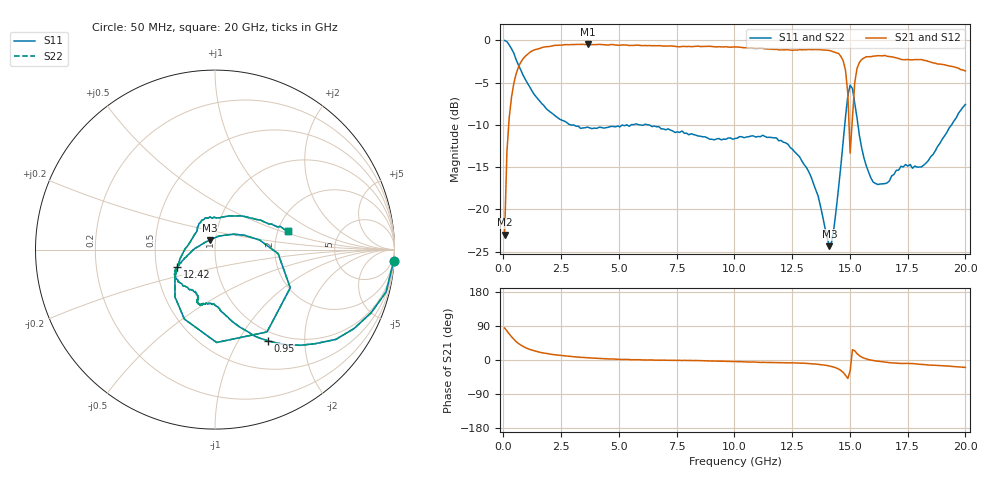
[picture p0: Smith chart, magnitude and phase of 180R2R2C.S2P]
!  American Technical Ceramics  Date:  3/13/98
!  One Norden Lane
!  Huntington Station,  NY.  11746-2102
!  Tel:  (516) 547-5700  Fax:  (516) 547-5748
!  Part Number  180r2r2c
!  Description: Porcelain, High Q, Low ESR
!  Application: Bypass, Coupling, Timing, Feedback
!  Tuning, Impedance Match, Blocking
# GHZ S DB R 50
! Freq  |S11|  S11 Ph  |S21|  S21 Ph  |S12|  S12 Ph  |S22|  S22 Ph
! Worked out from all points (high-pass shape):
!   201 points, 50 MHz to 20 GHz, reference 50 ohm
!   highest |S21| = -0.47 dB at 3.64 GHz (marker M1); lowest = -23.0 dB at 50 MHz (marker M2)
!   |S21| within 3 dB of the highest: 611.2 MHz to 14.8 GHz (14.19 GHz wide, 184 % of centre); 15.3 GHz to 19.8 GHz (4.499 GHz wide, 25.6 % of centre)
!   lowest |S11| = -24.4 dB at 14.11 GHz (marker M3), VSWR 1.13, Z = 47 + j5.04 ohm
!   |S11| at or under -10 dB: 2.903 GHz to 5.529 GHz (2.627 GHz wide, 62.3 % of centre); 6.255 GHz to 14.78 GHz (8.522 GHz wide, 81 % of centre); 15.35 GHz to 19.4 GHz (4.056 GHz wide, 23.3 % of centre)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
!   |S22| runs from -24.4 to 0.0 dB; largest |S21 - S12| = 0
!   S11 on the Smith chart (normalised r, x): 50 MHz: 1, -31; 950 MHz: 0.87, -1.34; 12.42 GHz: 0.64, -0.13; 20 GHz: 2.26, +0.57
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0.05  -0.02 -3.7  -23.00 84.5  -23.00 84.5  -0.02 -3.7
0.15  -0.16 -13.9  -13.20 76.7  -13.20 76.7  -0.16 -13.9
0.35  -1.01 -29.7  -6.70 61.3  -6.70 61.3  -1.01 -29.7
0.95  -4.64 -60.0  -1.88 32.8  -1.88 32.8  -4.64 -60.0
1.75  -7.72 -76.6  -0.80 18.6  -0.80 18.6  -7.72 -76.6
3.44  -10.37 -92.6  -0.48 6.8  -0.48 6.8  -10.37 -92.6
3.64  -10.27 -93.2  -0.47 5.9  -0.47 5.9  -10.27 -93.2
6.73  -10.22 -108.8  -0.63 -0.6  -0.63 -0.6  -10.22 -108.8
10.03  -11.61 -128.2  -0.78 -4.2  -0.78 -4.2  -11.61 -128.2
12.42  -12.70 -154.8  -1.16 -7.4  -1.16 -7.4  -12.70 -154.8
13.42  -16.95 -171.6  -1.10 -10.1  -1.10 -10.1  -16.95 -171.6
14.11  -24.36 118.1  -1.21 -15.8  -1.21 -15.8  -24.36 118.1
14.51  -17.43 39.7  -1.56 -23.8  -1.56 -23.8  -17.43 39.7
14.81  -9.06 -3.6  -3.56 -40.3  -3.56 -40.3  -9.06 -3.6
14.91  -6.55 -26.9  -6.33 -48.6  -6.33 -48.6  -6.55 -26.9
15.01  -5.31 -57.7  -13.36 -29.0  -13.36 -29.0  -5.31 -57.7
15.11  -5.72 -89.0  -9.18 27.3  -9.18 27.3  -5.72 -89.0
15.31  -9.22 -130.1  -3.32 16.8  -3.32 16.8  -9.22 -130.1
15.91  -16.30 171.8  -1.94 -0.2  -1.94 -0.2  -16.30 171.8
16.71  -16.63 132.0  -1.92 -7.1  -1.92 -7.1  -16.63 132.0
18.3  -14.52 75.7  -2.41 -12.7  -2.41 -12.7  -14.52 75.7
20  -7.59 14.5  -3.63 -19.5  -3.63 -19.5  -7.59 14.5
